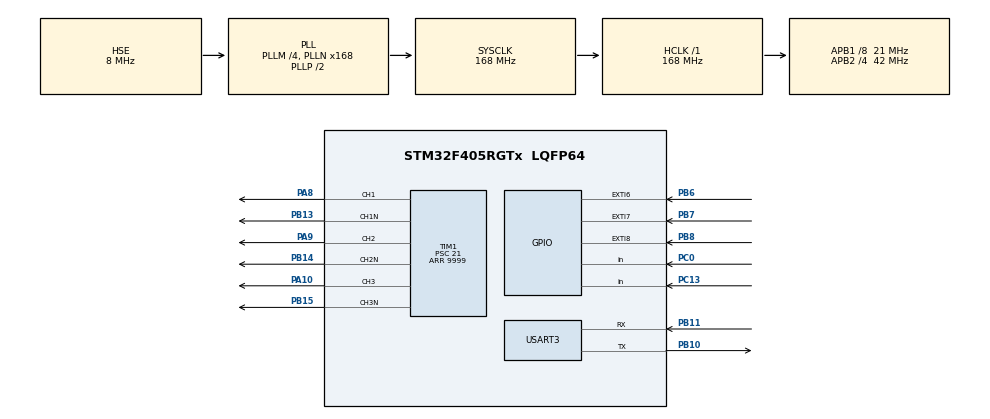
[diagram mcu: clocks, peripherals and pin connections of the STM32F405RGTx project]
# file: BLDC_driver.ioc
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Mcu.Family=STM32F4
Mcu.Name=STM32F405RGTx
Mcu.Package=LQFP64
NVIC.EXTI9_5_IRQn=true\:0\:0\:false\:false\:true\:true\:true
NVIC.PriorityGroup=NVIC_PRIORITYGROUP_2
NVIC.USART3_IRQn=true\:3\:1\:true\:false\:true\:true\:true
PA10.Signal=S_TIM1_CH3
PA13.Mode=Serial_Wire
PA13.Signal=SYS_JTMS-SWDIO
PA14.Mode=Serial_Wire
PA14.Signal=SYS_JTCK-SWCLK
PA8.Signal=S_TIM1_CH1
PA9.Signal=S_TIM1_CH2
PB10.Mode=Asynchronous
PB10.Signal=USART3_TX
PB11.Mode=Asynchronous
PB11.Signal=USART3_RX
PB13.Mode=PWM Generation1 CH1 CH1N
PB13.Signal=TIM1_CH1N
PB14.Mode=PWM Generation2 CH2 CH2N
PB14.Signal=TIM1_CH2N
PB15.Mode=PWM Generation3 CH3 CH3N
PB15.Signal=TIM1_CH3N
PB6.GPIO_ModeDefaultEXTI=GPIO_MODE_IT_RISING_FALLING
PB6.Signal=GPXTI6
PB7.GPIO_ModeDefaultEXTI=GPIO_MODE_IT_RISING_FALLING
PB7.Signal=GPXTI7
PB8.GPIO_ModeDefaultEXTI=GPIO_MODE_IT_RISING_FALLING
PB8.Signal=GPXTI8
PC0.GPIO_PuPd=GPIO_PULLUP
PC0.Signal=GPIO_Input
PC13-ANTI_TAMP.GPIO_PuPd=GPIO_PULLUP
PC13-ANTI_TAMP.Signal=GPIO_Input
PC14-OSC32_IN.Mode=LSE-External-Oscillator
PC14-OSC32_IN.Signal=RCC_OSC32_IN
PC15-OSC32_OUT.Mode=LSE-External-Oscillator
PC15-OSC32_OUT.Signal=RCC_OSC32_OUT
PH0-OSC_IN.Mode=HSE-External-Oscillator
PH0-OSC_IN.Signal=RCC_OSC_IN
PH1-OSC_OUT.Mode=HSE-External-Oscillator
PH1-OSC_OUT.Signal=RCC_OSC_OUT
ProjectManager.HeapSize=0x200
ProjectManager.StackSize=0x400
ProjectManager.TargetToolchain=MDK-ARM V5
RCC.48MHZClocksFreq_Value=84000000
RCC.AHBFreq_Value=168000000
RCC.APB1CLKDivider=RCC_HCLK_DIV8
RCC.APB1Freq_Value=21000000
RCC.APB1TimFreq_Value=42000000
RCC.APB2CLKDivider=RCC_HCLK_DIV4
RCC.APB2Freq_Value=42000000
RCC.APB2TimFreq_Value=84000000
RCC.CortexFreq_Value=168000000
RCC.HCLKFreq_Value=168000000
RCC.HSE_VALUE=8000000
RCC.HSI_VALUE=16000000
RCC.PLLM=4
RCC.PLLN=168
RCC.PLLSourceVirtual=RCC_PLLSOURCE_HSE
RCC.SYSCLKFreq_VALUE=168000000
RCC.SYSCLKSource=RCC_SYSCLKSOURCE_PLLCLK
RCC.VCOOutputFreq_Value=336000000
SH.S_TIM1_CH1.0=TIM1_CH1,PWM Generation1 CH1 CH1N
SH.S_TIM1_CH2.0=TIM1_CH2,PWM Generation2 CH2 CH2N
SH.S_TIM1_CH3.0=TIM1_CH3,PWM Generation3 CH3 CH3N
TIM1.AutoReloadPreload=TIM_AUTORELOAD_PRELOAD_ENABLE
TIM1.BreakState=TIM_BREAK_DISABLE
TIM1.Channel-PWM\ Generation1\ CH1\ CH1N=TIM_CHANNEL_1
TIM1.Channel-PWM\ Generation2\ CH2\ CH2N=TIM_CHANNEL_2
TIM1.Channel-PWM\ Generation3\ CH3\ CH3N=TIM_CHANNEL_3
TIM1.Period=9999
TIM1.Prescaler=21
USART3.VirtualMode=VM_ASYNC
board=custom

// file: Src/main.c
/* USER CODE BEGIN Header */
/**
  ******************************************************************************
  * @file           : main.c
  * @brief          : Main program body
  ******************************************************************************
  * @attention
  *
  * <h2><center>&copy; Copyright (c) 2022 STMicroelectronics.
  * All rights reserved.</center></h2>
  *
  * This software component is licensed by ST under BSD 3-Clause license,
  * the "License"; You may not use this file except in compliance with the
  * License. You may obtain a copy of the License at:
  *                        opensource.org/licenses/BSD-3-Clause
  *
  ******************************************************************************
  */
/* USER CODE END Header */
#include "main.h"
#include "tim.h"
#include "usart.h"
#include "gpio.h"

/* USER CODE BEGIN Includes */
//获取霍尔传感器状态
/*
uint8_t Get_HallAState(void)
{
	static uint8_t hallA = 0;
	hallA = HAL_GPIO_ReadPin(GPIOB,GPIO_PIN_6);
	return HAL_GPIO_ReadPin(GPIOB,GPIO_PIN_6);
}

uint8_t Get_HallBState(void)
{
	static uint8_t hallB = 0;
	hallB = HAL_GPIO_ReadPin(GPIOB,GPIO_PIN_7);
	return HAL_GPIO_ReadPin(GPIOB,GPIO_PIN_7);
}

uint8_t Get_HallCState(void)
{
	static uint8_t hallC = 0;
	hallC = HAL_GPIO_ReadPin(GPIOB,GPIO_PIN_8);
	return HAL_GPIO_ReadPin(GPIOB,GPIO_PIN_8);
}
*/
/* USER CODE END Includes */

/* USER CODE BEGIN PTD */

//Mos管导通函数
/*
void Set_T1PWM(uint32_t PWMValue)
{
	__HAL_TIM_SET_COMPARE(&htim1,TIM_CHANNEL_1,PWMValue);
}

void Set_T3PWM(uint32_t PWMValue)
{
	__HAL_TIM_SET_COMPARE(&htim1,TIM_CHANNEL_2,PWMValue);
}

void Set_T5PWM(uint32_t PWMValue)
{
	__HAL_TIM_SET_COMPARE(&htim1,TIM_CHANNEL_3,PWMValue);
}

void Set_T2Status(uint8_t State)
{
	HAL_GPIO_WritePin(GPIOB, GPIO_PIN_13,(GPIO_PinState)State);
}

void Set_T4Status(uint8_t State)
{
	HAL_GPIO_WritePin(GPIOB, GPIO_PIN_14,(GPIO_PinState)State);
}

void Set_T6Status(uint8_t State)
{
	HAL_GPIO_WritePin(GPIOB, GPIO_PIN_15,(GPIO_PinState)State);
}
*/
/* USER CODE END PTD */

/* USER CODE BEGIN PM */
//霍尔传感器中断回调函数
/*
void HAL_GPIO_EXTI_Callback(uint16_t GPIO_Pin)
{
	__HAL_GPIO_EXTI_CLEAR_IT(GPIO_PIN_6);
	__HAL_GPIO_EXTI_CLEAR_IT(GPIO_PIN_7);
	__HAL_GPIO_EXTI_CLEAR_IT(GPIO_PIN_8);

	HallExtiTask();
}
*/
/* USER CODE END PM */

/* USER CODE BEGIN PV */

//按键状态读取函数
/*
uint8_t Get_Key1State(void)
{
	return((uint8_t)(!HAL_GPIO_ReadPin(GPIOC,GPIO_PIN_13)));//返回1代表按下
}

uint8_t Get_Key2State(void)
{
	return((uint8_t)(!HAL_GPIO_ReadPin(GPIOC,GPIO_PIN_0)));
}
*/
/* USER CODE END PV */

void SystemClock_Config(void);
/* USER CODE BEGIN PFP */

//电机启停函数，Set_StartStopMotor
/*void Set_StartStopMotor(uint8_t State)
{
	if(State == 0) //Stop Motor
	{
		TIM_PWM_state = 0;
		HAL_TIM_PWM_Stop(&htim1, TIM_CHANNEL_1);
		HAL_TIM_PWM_Stop(&htim1, TIM_CHANNEL_2);
		HAL_TIM_PWM_Stop(&htim1, TIM_CHANNEL_3);
	}
	else
	{
		TIM_PWM_state = 1;
		HAL_TIM_PWM_Start(&htim1, TIM_CHANNEL_1);
		HAL_TIM_PWM_Start(&htim1, TIM_CHANNEL_2);
		HAL_TIM_PWM_Start(&htim1, TIM_CHANNEL_3);
	}
}
*/

/* USER CODE END PFP */

/* USER CODE BEGIN 0 */

int fputc(int ch, FILE *f)
{
	HAL_UART_Transmit(&huart3,(uint8_t *)&ch, 1, 0xFFFF);
	return (ch);
}

uint8_t MotorConState[20] = {0xA5,0xDA,0x03,0x04,0x05,0x06,0x07,0x08};
uint8_t TIM_PWM_state = 0;
/* USER CODE END 0 */

int main(void)
{

  /* MCU Configuration--------------------------------------------------------*/

  /* Reset of all peripherals, Initializes the Flash interface and the Systick. */
  HAL_Init();

  /* Configure the system clock */
  SystemClock_Config();

  /* USER CODE BEGIN SysInit */
	HAL_SYSTICK_Config(SystemCoreClock / 1000);
  /* USER CODE END SysInit */

  /* Initialize all configured peripherals */
  MX_GPIO_Init();
  MX_TIM1_Init();
  MX_USART3_UART_Init();
  /* USER CODE BEGIN 2 */
	MotorControl_initialize();
  /* USER CODE END 2 */

  /* Infinite loop */
  while (1)
  {

    /* USER CODE BEGIN 3 */
		//printf("return value is 123 \n");
		MotorConState[2] = Key1State;
		MotorConState[3] = Key2State;
		MotorConState[4] = StartMotorReq;
		MotorConState[5] = StopMotorReq;
		MotorConState[6] = TestState;
		MotorConState[7] = TIM_PWM_state;

		HAL_UART_Transmit_IT(&huart3,(uint8_t *)MotorConState,sizeof(MotorConState));
		HAL_Delay(10);

  }
  /* USER CODE END 3 */
}

void SystemClock_Config(void)
{
  RCC_OscInitTypeDef RCC_OscInitStruct = {0};
  RCC_ClkInitTypeDef RCC_ClkInitStruct = {0};

  /** Configure the main internal regulator output voltage
  */
  __HAL_RCC_PWR_CLK_ENABLE();
  __HAL_PWR_VOLTAGESCALING_CONFIG(PWR_REGULATOR_VOLTAGE_SCALE1);
  /** Initializes the RCC Oscillators according to the specified parameters
  * in the RCC_OscInitTypeDef structure.
  */
  RCC_OscInitStruct.OscillatorType = RCC_OSCILLATORTYPE_HSE;
  RCC_OscInitStruct.HSEState = RCC_HSE_ON;
  RCC_OscInitStruct.PLL.PLLState = RCC_PLL_ON;
  RCC_OscInitStruct.PLL.PLLSource = RCC_PLLSOURCE_HSE;
  RCC_OscInitStruct.PLL.PLLM = 4;
  RCC_OscInitStruct.PLL.PLLN = 168;
  RCC_OscInitStruct.PLL.PLLP = RCC_PLLP_DIV2;
  RCC_OscInitStruct.PLL.PLLQ = 4;
  if (HAL_RCC_OscConfig(&RCC_OscInitStruct) != HAL_OK)
  {
    Error_Handler();
  }
  /** Initializes the CPU, AHB and APB buses clocks
  */
  RCC_ClkInitStruct.ClockType = RCC_CLOCKTYPE_HCLK|RCC_CLOCKTYPE_SYSCLK
                              |RCC_CLOCKTYPE_PCLK1|RCC_CLOCKTYPE_PCLK2;
  RCC_ClkInitStruct.SYSCLKSource = RCC_SYSCLKSOURCE_PLLCLK;
  RCC_ClkInitStruct.AHBCLKDivider = RCC_SYSCLK_DIV1;
  RCC_ClkInitStruct.APB1CLKDivider = RCC_HCLK_DIV8;
  RCC_ClkInitStruct.APB2CLKDivider = RCC_HCLK_DIV4;

  if (HAL_RCC_ClockConfig(&RCC_ClkInitStruct, FLASH_LATENCY_5) != HAL_OK)
  {
    Error_Handler();
  }
}

void Error_Handler(void)
{
  __disable_irq();
  while (1)
  {
  }
}

/************************ (C) COPYRIGHT STMicroelectronics *****END OF FILE****/
